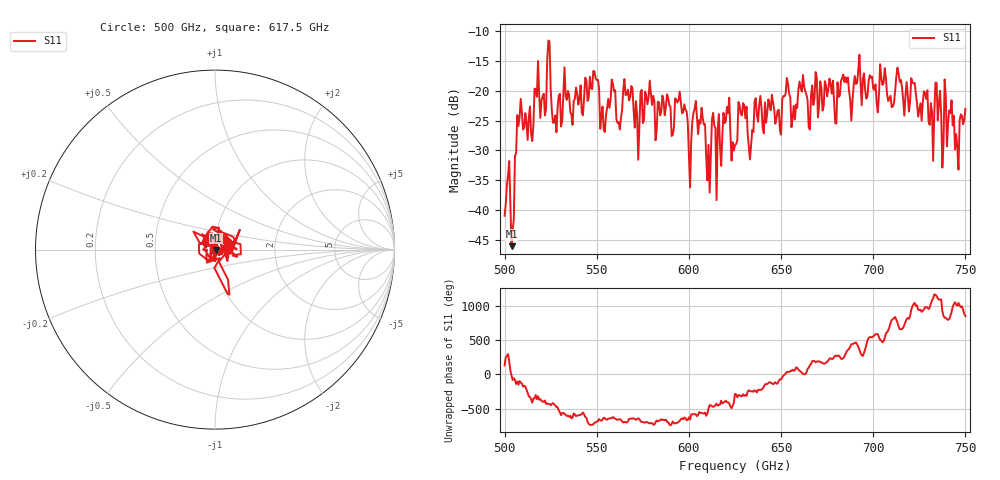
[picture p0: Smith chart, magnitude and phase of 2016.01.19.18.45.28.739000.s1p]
!Created with skrf (http://scikit-rf.org).
# GHz S RI R 50.0
!freq ReS11 ImS11
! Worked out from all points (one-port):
!   401 points, 500 GHz to 750 GHz, reference 50 ohm
!   lowest |S11| = -46.0 dB at 503.8 GHz (marker M1), VSWR 1.01, Z = 50.5 - j0.148 ohm
!   |S11| at or under -10 dB: start of sweep to end of sweep
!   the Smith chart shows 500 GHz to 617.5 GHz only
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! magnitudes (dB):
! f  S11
! 500 GHz  -40.9
! 503.8 GHz  -46.0
! 508.1 GHz  -24.5
! 513.8 GHz  -22.6
! 523.8 GHz  -11.6
! 526.9 GHz  -25.4
! 531.2 GHz  -25.1
! 549.4 GHz  -17.9
! 553.1 GHz  -22.7
! 558.8 GHz  -18.8
! 562.5 GHz  -26.5
! 565.6 GHz  -20.7
! 571.9 GHz  -23.9
! 593.8 GHz  -22.0
! 600.6 GHz  -36.2
! 607.5 GHz  -24.6
! 610.6 GHz  -29.1
! 620.6 GHz  -22.7
! 625 GHz  -29.1
! 628.1 GHz  -23.9
! 633.1 GHz  -31.5
! 637.5 GHz  -25.2
! 656.2 GHz  -24.6
! 687.5 GHz  -21.5
! 718.8 GHz  -20.8
! 735 GHz  -24.9
! 745.6 GHz  -29.5
! 750 GHz  -23.0
